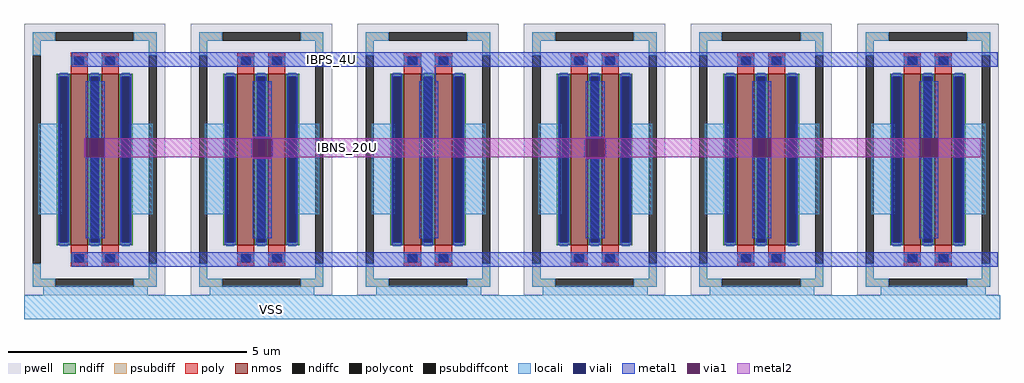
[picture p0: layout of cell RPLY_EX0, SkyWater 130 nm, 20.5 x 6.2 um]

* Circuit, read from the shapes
.subckt RPLY_EX0 VSS IBPS_4U IBNS_20U
XM1 IBNS_20U IBPS_4U VSS VSS sky130_fd_pr__nfet_01v8 w=3.6 l=0.36 m=10
XM2 IBPS_4U IBPS_4U VSS VSS sky130_fd_pr__nfet_01v8 w=3.6 l=0.36 m=2
.ends

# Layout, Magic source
magic
tech sky130B
magscale 1 2
<< locali >>
rect 3260 740 3360 1120
rect 3640 740 3740 1120
rect 3960 740 4060 1120
rect 4340 740 4440 1120
rect 4660 740 4760 1120
rect 5040 740 5140 1120
rect 5360 740 5460 1120
rect 5740 740 5840 1120
rect 6060 740 6160 1120
rect 6440 740 6540 1120
rect 6760 740 6860 1120
rect 7140 740 7240 1120
rect 3280 400 3720 440
rect 3980 400 4420 440
rect 4680 400 5120 440
rect 5380 400 5820 440
rect 6080 400 6520 440
rect 6800 400 7240 440
rect 3200 300 7300 400
<< metal1 >>
rect 3400 1360 7290 1420
rect 4870 1300 4930 1360
rect 3460 1060 3540 1300
rect 4160 1060 4240 1300
rect 4154 980 4160 1060
rect 4240 980 4246 1060
rect 3460 640 3540 980
rect 4160 640 4240 980
rect 4860 640 4940 1300
rect 5560 1060 5640 1300
rect 6260 1060 6340 1300
rect 5554 980 5560 1060
rect 5640 980 5646 1060
rect 5560 640 5640 980
rect 6260 640 6340 980
rect 6960 1060 7040 1300
rect 6960 640 7040 980
rect 3400 520 7290 580
<< via1 >>
rect 3460 980 3540 1060
rect 4160 980 4240 1060
rect 5560 980 5640 1060
rect 6260 980 6340 1060
rect 6960 980 7040 1060
<< metal2 >>
rect 4160 1060 4240 1066
rect 5560 1060 5640 1066
rect 3454 980 3460 1060
rect 3540 980 4160 1060
rect 4240 980 5560 1060
rect 5640 980 6260 1060
rect 6340 980 6960 1060
rect 7040 980 7220 1060
rect 4160 974 4240 980
rect 5560 974 5640 980
use sky130_fd_pr__nfet_01v8_5CE34N  sky130_fd_pr__nfet_01v8_5CE34N_0
transform 1 0 6997 0 1 970
box -297 -570 297 570
use sky130_fd_pr__nfet_01v8_5CE34N  sky130_fd_pr__nfet_01v8_5CE34N_1
transform 1 0 3497 0 1 970
box -297 -570 297 570
use sky130_fd_pr__nfet_01v8_5CE34N  sky130_fd_pr__nfet_01v8_5CE34N_2
transform 1 0 4197 0 1 970
box -297 -570 297 570
use sky130_fd_pr__nfet_01v8_5CE34N  sky130_fd_pr__nfet_01v8_5CE34N_3
transform 1 0 4897 0 1 970
box -297 -570 297 570
use sky130_fd_pr__nfet_01v8_5CE34N  sky130_fd_pr__nfet_01v8_5CE34N_4
transform 1 0 5597 0 1 970
box -297 -570 297 570
use sky130_fd_pr__nfet_01v8_5CE34N  sky130_fd_pr__nfet_01v8_5CE34N_5
transform 1 0 6297 0 1 970
box -297 -570 297 570
<< labels >>
flabel metal1 4460 1360 4520 1420 0 FreeSans 320 0 0 0 IBPS_4U
port 2 nsew
flabel locali 4200 300 4280 380 0 FreeSans 320 0 0 0 VSS
port 1 nsew
flabel metal2 4520 980 4600 1060 0 FreeSans 320 0 0 0 IBNS_20U
port 3 nsew
<< end >>

# cell sky130_fd_pr__nfet_01v8_5CE34N: kit device sky130_fd_pr__nfet_01v8, w 3.6 l 0.36 m 1 nf 2 diffcov 100 polycov 100 guard 1 glc 1 grc 1 gtc 1 gbc 1 tbcov 100 rlcov 100 topc 1 botc 1 poverlap 0 doverlap 1 lmin 0.15 wmin 0.42 compatible {sky130_fd_pr__nfet_01v8 sky130_fd_pr__nfet_01v8_lvt sky130_fd_bs_flash__special_sonosfet_star sky130_fd_pr__nfet_g5v0d10v5 sky130_fd_pr__nfet_05v0_nvt sky130_fd_pr__nfet_03v3_nvt} full_metal 1 viasrc 100 viadrn 100 viagate 100 viagb 0 viagr 0 viagl 0 viagt 0
